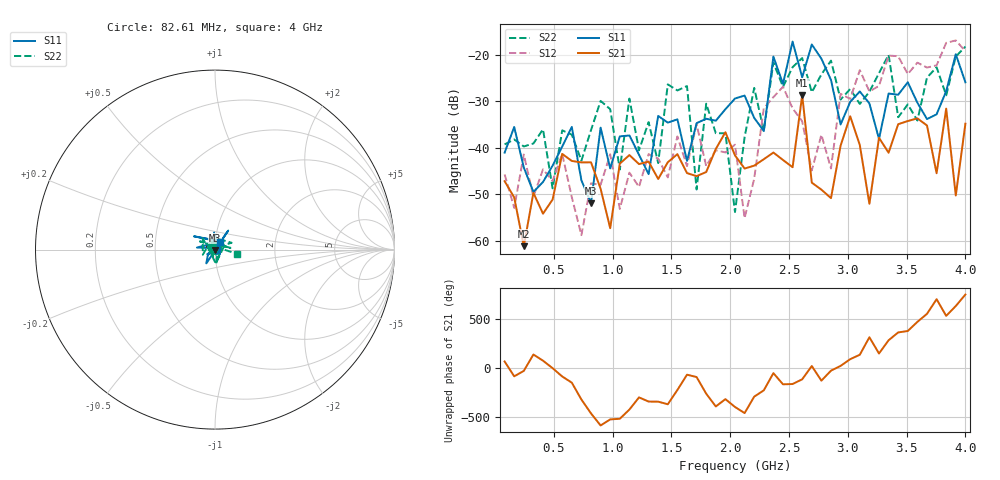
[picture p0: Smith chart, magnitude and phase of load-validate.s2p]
!Created with skrf (http://scikit-rf.org).
# GHz S DB R 50.0
!freq dBS11 angS11 dBS21 angS21 dBS12 angS12 dBS22 angS22
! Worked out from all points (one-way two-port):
!   49 points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, 82.61 MHz to 4 GHz, reference 50 ohm
!   highest |S21| = -28.71 dB at 2.613 GHz (marker M1); lowest = -61.2 dB at 245.8 MHz (marker M2)
!   lowest |S11| = -52.0 dB at 817.1 MHz (marker M3), VSWR 1.01, Z = 49.9 - j0.213 ohm
!   |S11| at or under -10 dB: start of sweep to end of sweep
!   |S22| runs from -53.9 to -18.2 dB; largest |S21 - S12| = 0.14
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0.08261224  -41.07 42.7  -47.21 67.6  -45.74 79.0  -39.30 173.5
0.2458367  -44.27 106.4  -61.22 -28.4  -41.47 -144.5  -39.74 42.2
0.7355102  -47.01 38.8  -43.18 40.2  -58.84 137.4  -42.80 -77.6
0.8171224  -51.95 -122.4  -43.15 -101.5  -47.68 -81.4  -36.23 -41.1
0.8987347  -35.68 104.0  -48.84 135.7  -48.00 112.8  -29.92 61.8
1.388408  -33.16 30.0  -46.74 18.2  -42.35 -88.8  -43.32 -70.0
1.633245  -42.86 -177.8  -45.47 -66.8  -43.96 -169.2  -26.72 74.2
1.714857  -34.71 -162.0  -46.13 -91.1  -34.96 -121.0  -49.01 51.3
1.796469  -33.77 66.8  -45.25 99.6  -43.96 72.0  -30.52 -78.3
2.041306  -29.40 -19.6  -41.67 -36.0  -39.34 1.5  -53.86 -109.4
2.204531  -33.59 -159.8  -43.87 69.2  -46.68 -50.7  -27.13 99.6
2.286143  -36.42 -59.0  -42.49 133.6  -31.52 117.9  -36.33 13.2
2.367755  -20.38 93.3  -41.05 -51.1  -29.11 -161.4  -21.65 -85.5
2.612592  -24.83 54.8  -28.71 -113.9  -34.32 -103.5  -20.69 137.7
2.775816  -20.83 -122.1  -49.04 -128.0  -37.22 31.0  -24.21 128.9
3.020653  -30.13 -19.8  -33.23 90.9  -29.49 108.5  -27.36 88.9
3.347102  -28.33 -44.9  -41.08 -76.0  -20.15 -152.1  -20.00 22.3
3.428714  -28.59 28.8  -34.94 3.8  -20.30 -41.2  -33.45 166.4
3.755163  -32.82 68.1  -45.51 -17.7  -22.26 68.7  -22.67 -85.1
3.836776  -27.81 9.5  -31.58 172.5  -17.41 -141.5  -28.71 9.2
3.918388  -19.86 173.5  -50.29 -87.0  -16.90 -41.2  -20.37 151.5
4  -25.91 59.2  -34.83 29.9  -19.19 72.7  -18.22 -11.1
